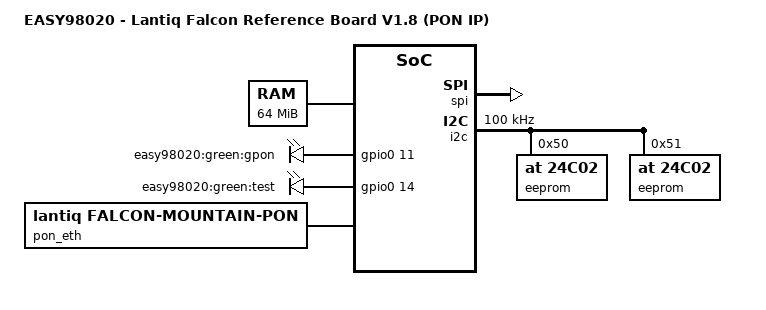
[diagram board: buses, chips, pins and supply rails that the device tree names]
/dts-v1/;

#include <dt-bindings/interrupt-controller/irq.h>
#include <dt-bindings/gpio/gpio.h>

#include "falcon.dtsi"
#include "falcon-sflash-16M.dtsi"

/ {
	model = "EASY98020 - Lantiq Falcon Reference Board V1.8 (PON IP)";
	compatible = "lantiq,falcon-easy98020-V18-ponip", "lantiq,falcon-easy98020-V18", "lantiq,falcon-easy98020", "lantiq,falcon";

	chosen {
		bootargs = "console=ttyLTQ0,115200 init=/etc/preinit";
	};

	aliases {
		spi0 = &ebu_cs0;
		spi1 = &spi;
	};

	memory@0 {
		device_type = "memory";
		reg = <0x0 0x4000000>;  // 64M at 0x0
	};

	pinctrl {
		led_pins: led-pins {
			lantiq,pins = "io11", "io14";
			lantiq,function = "gpio";
		};
	};

	easy98020-leds {
		compatible = "gpio-leds";
		pinctrl-names = "default";
		pinctrl-0 = <&led_pins &bootled_pins>;

		GPON {
			label = "easy98020:green:gpon";
			gpios = <&gpio0 11 GPIO_ACTIVE_HIGH>;
			default-state = "keep";
		};
		TEST {
			label = "easy98020:green:test";
			gpios = <&gpio0 14 GPIO_ACTIVE_HIGH>;
			default-state = "keep";
		};
	};

	/* to load the dummy driver, HW is not in chip */
	pon_eth: pon_ethernet@2 {
		compatible = "lantiq,falcon-mountain-pon";
		reg = <2>;
	};
};

&spi {
	status = "ok";

	ponmbox@1 {
		compatible = "intel,pon_mbox";
		reg = <1>;
		spi-max-frequency = <10000000>;
		spi-cpha;
		spi-cpol;

		interrupts = <1 IRQ_TYPE_LEVEL_HIGH>;
		interrupt-parent = <&gpio0>;
	};
};

&i2c {
	status = "okay";
	clock-frequency = <100000>;

	eeprom@50 {
		compatible = "at,24c02";
		reg = <0x50>;
	};
	eeprom@51 {
		compatible = "at,24c02";
		reg = <0x51>;
	};
};
